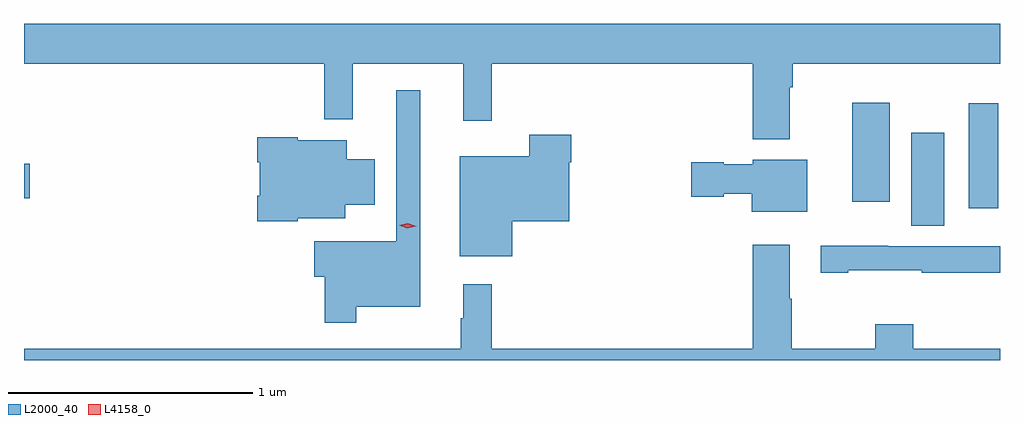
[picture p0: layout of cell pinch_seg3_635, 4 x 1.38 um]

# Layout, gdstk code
import gdstk
lib = gdstk.Library(unit=1e-6, precision=1e-09)
def R(c, l, rs):  # rectangles x0, y0, x1, y1
    for r in rs: c.add(gdstk.rectangle(r[:2], r[2:], *l))
def P(c, l, *ps):  # polygons
    for p in ps: c.add(gdstk.Polygon(p, *l))
L2000_40 = (2000, 40)
L4158_0 = (4158, 0)

pinch_seg3_635 = lib.new_cell('pinch_seg3_635')
R(pinch_seg3_635, L2000_40, [(1049.576,666.952,1049.71,667.333), (1049.81,667.023,1049.932,667.453), (1049.333,667.05,1049.488,667.456), (1045.939,667.064,1045.963,667.206)])
P(pinch_seg3_635, L2000_40, [(1049.077,667.52),(1049.09,667.52),(1049.09,667.616),(1049.939,667.616),(1049.939,667.78),(1045.939,667.78),(1045.939,667.616),(1047.169,667.616),(1047.169,667.388),(1047.287,667.388),(1047.287,667.616),(1047.74,667.616),(1047.74,667.383),(1047.857,667.383),(1047.857,667.616),(1048.925,667.616),(1048.925,667.307),(1049.077,667.307)],
  [(1047.301,666.62),(1047.562,666.62),(1047.562,667.507),(1047.465,667.507),(1047.465,666.889),(1047.128,666.889),(1047.128,666.742),(1047.172,666.742),(1047.172,666.555),(1047.301,666.555)],
  [(1047.94,666.971),(1048.174,666.971),(1048.174,667.211),(1048.182,667.211),(1048.182,667.324),(1048.009,667.324),(1048.009,667.237),(1047.725,667.237),(1047.725,666.827),(1047.94,666.827)],
  [(1047.06,666.983),(1047.256,666.983),(1047.256,667.037),(1047.376,667.037),(1047.376,667.225),(1047.262,667.225),(1047.262,667.303),(1047.06,667.303),(1047.06,667.315),(1046.894,667.315),(1046.894,667.211),(1046.906,667.211),(1046.906,667.075),(1046.894,667.075),(1046.894,666.971),(1047.06,666.971)],
  [(1049.149,667.222),(1048.926,667.222),(1048.926,667.204),(1048.806,667.204),(1048.806,667.212),(1048.674,667.212),(1048.674,667.07),(1048.806,667.07),(1048.806,667.082),(1048.922,667.082),(1048.922,667.01),(1049.149,667.01)],
  [(1049.939,666.448),(1049.583,666.448),(1049.583,666.547),(1049.428,666.547),(1049.428,666.448),(1049.085,666.448),(1049.085,666.653),(1049.077,666.653),(1049.077,666.874),(1048.925,666.874),(1048.925,666.448),(1047.857,666.448),(1047.857,666.712),(1047.74,666.712),(1047.74,666.572),(1047.728,666.572),(1047.728,666.448),(1045.939,666.448),(1045.939,666.4),(1049.939,666.4)],
  [(1049.317,666.769),(1049.618,666.769),(1049.618,666.759),(1049.939,666.759),(1049.939,666.868),(1049.814,666.868),(1049.814,666.867),(1049.48,666.867),(1049.48,666.869),(1049.205,666.869),(1049.205,666.759),(1049.317,666.759)])
P(pinch_seg3_635, L4158_0, [(1047.51,666.941),(1047.476,666.953),(1047.475,666.953),(1047.476,666.953),(1047.511,666.961),(1047.546,666.95),(1047.546,666.95),(1047.546,666.95)])

lib.write_gds('pinch_seg3_635.gds')
